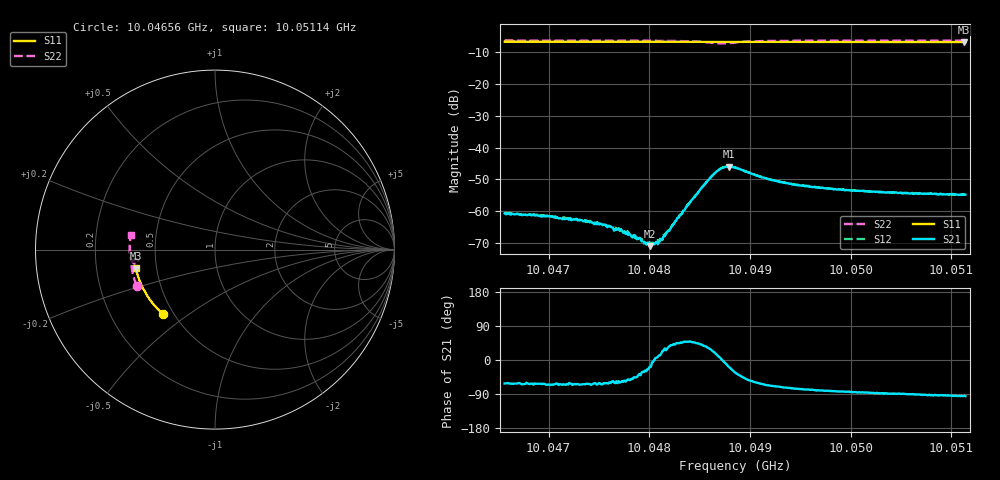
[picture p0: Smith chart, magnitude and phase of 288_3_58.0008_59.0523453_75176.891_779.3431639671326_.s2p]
#  HZ  S  RI  R  50.00
! Rohde & Schwarz Vector Network Analyzer
! Rohde-Schwarz,ZNB20-2Port,1311601062101988,3.16
! Created: UTC 3/21/2024, 1:03:11 AM
! freq[Hz]  re:S11  im:S11  re:S21  im:S21  re:S12  im:S12  re:S22  im:S22
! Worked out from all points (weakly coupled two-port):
!   401 points, 10.04656 GHz to 10.05114 GHz, reference 50 ohm
!   highest |S21| = -45.97 dB at 10.04879 GHz (marker M1); lowest = -70.9 dB at 10.04801 GHz (marker M2)
!   lowest |S11| = -6.9 dB at 10.05113 GHz (marker M3), VSWR 2.66, Z = 19.1 - j5.05 ohm
!   |S11| at or under -10 dB: nowhere
!   |S22| runs from -7.3 to -6.4 dB; largest |S21 - S12| = 0.00034
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1.0046564e10  -0.2892 -0.3589  0.000435 -0.000821  0.00048 -0.000785  -0.4357 -0.2004
1.0046953e10  -0.3084 -0.3415  0.000385 -0.00074  0.000445 -0.000742  -0.4454 -0.1761
1.004733e10  -0.3259 -0.3238  0.00031 -0.000653  0.000356 -0.000632  -0.4535 -0.1515
1.0047502e10  -0.3336 -0.3153  0.000303 -0.000545  0.000332 -0.000544  -0.4567 -0.1397
1.0047662e10  -0.3404 -0.3075  0.000254 -0.000458  0.000307 -0.000465  -0.4592 -0.1287
1.0047708e10  -0.3423 -0.3052  0.000264 -0.00045  0.000287 -0.000399  -0.4601 -0.1256
1.0047914e10  -0.351 -0.2943  0.000287 -0.000242  0.000279 -0.000219  -0.4626 -0.1103
1.0047971e10  -0.3533 -0.2915  0.000261 -0.000149  0.000288 -0.000123  -0.4632 -0.106
1.0048005e10  -0.3546 -0.2897  0.000271 -8.49e-05  0.00032 -6.65e-05  -0.4633 -0.1032
1.004804e10  -0.356 -0.2879  0.000314 -2.38e-05  0.000319 -2.15e-05  -0.4638 -0.1006
1.0048097e10  -0.3583 -0.2848  0.000319 6.67e-05  0.000333 0.000103  -0.464 -0.0958
1.0048154e10  -0.3606 -0.2819  0.000351 0.000208  0.000372 0.000194  -0.4642 -0.091
1.0048371e10  -0.3689 -0.2701  0.000798 0.000875  0.000748 0.000939  -0.4614 -0.0712
1.0048611e10  -0.3774 -0.2568  0.00304 0.00158  0.00298 0.00174  -0.4408 -0.0521
1.0048703e10  -0.3804 -0.2519  0.00457 0.000489  0.00457 0.000727  -0.4283 -0.0591
1.0048794e10  -0.3834 -0.247  0.00476 -0.00163  0.00488 -0.00137  -0.4301 -0.0739
1.0048852e10  -0.3854 -0.2439  0.00407 -0.00262  0.00426 -0.00234  -0.438 -0.0785
1.0049195e10  -0.3967 -0.2243  0.0012 -0.00293  0.00138 -0.00285  -0.4679 -0.0551
1.0049618e10  -0.4092 -0.1992  0.000473 -0.00235  0.000581 -0.00234  -0.4747 -0.021
1.0050384e10  -0.4277 -0.1525  3.67e-05 -0.00197  0.000167 -0.00198  -0.4748 0.0333
1.0051128e10  -0.4405 -0.1054  -0.00015 -0.00184  -7.36e-05 -0.00184  -0.4681 0.0827
1.0051139e10  -0.4406 -0.1048  -0.000172 -0.00181  -6.69e-05 -0.00184  -0.4681 0.0835
